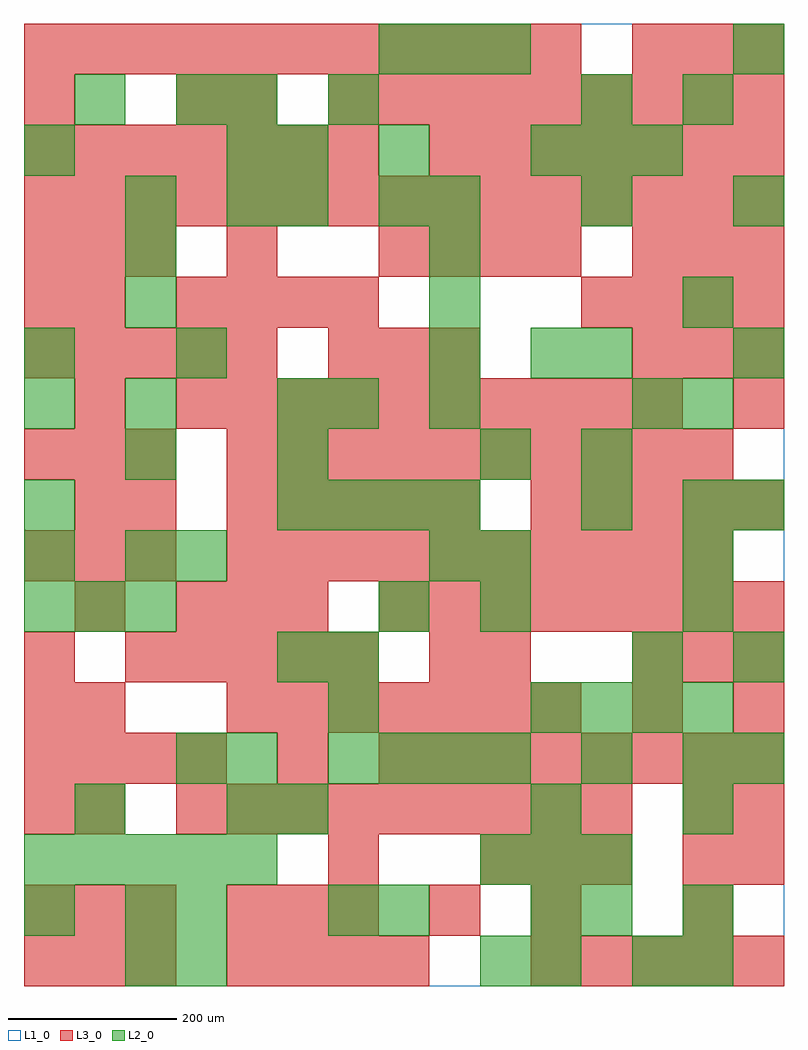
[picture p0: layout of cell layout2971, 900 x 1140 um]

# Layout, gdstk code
import gdstk
lib = gdstk.Library(unit=1e-6, precision=1e-09)
def R(c, l, rs):  # rectangles x0, y0, x1, y1
    for r in rs: c.add(gdstk.rectangle(r[:2], r[2:], *l))
def A(c, l, x, y, w, h, nx, ny, dx, dy):  # array of equal rectangles
    R(c, l, [(x+i*dx, y+j*dy, x+i*dx+w, y+j*dy+h) for i in range(nx) for j in range(ny)])
L1_0 = (1, 0)
L2_0 = (2, 0)
L3_0 = (3, 0)

layout2971 = lib.new_cell('layout2971')
R(layout2971, L1_0, [(0,0,900,1140)])
A(layout2971, L2_0, 0, 120, 60, 60, 5, 1, 60, 0)
A(layout2971, L2_0, 540, 120, 60, 60, 3, 1, 60, 0)
A(layout2971, L2_0, 180, 240, 60, 60, 1, 3, 0, 240)
A(layout2971, L2_0, 360, 240, 60, 60, 4, 1, 60, 0)
A(layout2971, L2_0, 600, 300, 60, 60, 4, 1, 60, 0)
A(layout2971, L2_0, 840, 360, 60, 60, 1, 3, 0, 180)
A(layout2971, L2_0, 0, 420, 60, 60, 3, 1, 60, 0)
A(layout2971, L2_0, 780, 420, 60, 60, 1, 3, 0, 60)
A(layout2971, L2_0, 300, 540, 60, 60, 4, 1, 60, 0)
A(layout2971, L2_0, 480, 660, 60, 60, 1, 4, 0, 60)
A(layout2971, L2_0, 120, 780, 60, 60, 1, 3, 0, 60)
A(layout2971, L2_0, 240, 900, 60, 60, 1, 3, 0, 60)
A(layout2971, L2_0, 480, 900, 60, 60, 3, 1, 180, 0)
A(layout2971, L2_0, 600, 960, 60, 60, 3, 1, 60, 0)
A(layout2971, L2_0, 420, 1080, 60, 60, 3, 1, 60, 0)
R(layout2971, L2_0, [(120,0,180,60), (180,0,240,60), (540,0,600,60), (600,0,660,60), (720,0,780,60), (780,0,840,60), (0,60,60,120), (120,60,180,120), (180,60,240,120), (360,60,420,120), (420,60,480,120), (600,60,660,120), (660,60,720,120), (780,60,840,120), (60,180,120,240), (240,180,300,240), (300,180,360,240), (600,180,660,240), (780,180,840,240), (240,240,300,300), (660,240,720,300), (780,240,840,300), (840,240,900,300), (360,300,420,360), (300,360,360,420), (360,360,420,420), (720,360,780,420), (420,420,480,480), (540,420,600,480), (0,480,60,540), (120,480,180,540), (480,480,540,540), (540,480,600,540), (0,540,60,600), (660,540,720,600), (120,600,180,660), (300,600,360,660), (540,600,600,660), (660,600,720,660), (0,660,60,720), (120,660,180,720), (300,660,360,720), (360,660,420,720), (720,660,780,720), (780,660,840,720), (0,720,60,780), (600,720,660,780), (660,720,720,780), (780,780,840,840), (300,900,360,960), (420,900,480,960), (0,960,60,1020), (300,960,360,1020), (420,960,480,1020), (60,1020,120,1080), (180,1020,240,1080), (360,1020,420,1080), (660,1020,720,1080), (780,1020,840,1080), (840,1080,900,1140)])
A(layout2971, L3_0, 0, 0, 60, 60, 3, 2, 60, 60)
A(layout2971, L3_0, 240, 0, 60, 60, 4, 1, 60, 0)
A(layout2971, L3_0, 600, 0, 60, 60, 5, 2, 60, 540)
A(layout2971, L3_0, 240, 60, 60, 60, 3, 1, 60, 0)
A(layout2971, L3_0, 780, 60, 60, 60, 1, 3, 0, 60)
A(layout2971, L3_0, 540, 120, 60, 60, 3, 1, 60, 0)
A(layout2971, L3_0, 60, 180, 60, 60, 1, 6, 0, 120)
A(layout2971, L3_0, 180, 180, 60, 60, 9, 1, 60, 0)
A(layout2971, L3_0, 0, 240, 60, 60, 4, 1, 60, 0)
A(layout2971, L3_0, 420, 240, 60, 60, 8, 2, 60, 180)
A(layout2971, L3_0, 240, 300, 60, 60, 7, 1, 60, 0)
A(layout2971, L3_0, 120, 360, 60, 60, 5, 1, 60, 0)
A(layout2971, L3_0, 720, 360, 60, 60, 3, 2, 60, 360)
A(layout2971, L3_0, 180, 420, 60, 60, 3, 1, 60, 0)
A(layout2971, L3_0, 0, 480, 60, 60, 3, 2, 60, 120)
A(layout2971, L3_0, 240, 480, 60, 60, 10, 2, 60, 120)
A(layout2971, L3_0, 240, 540, 60, 60, 5, 1, 60, 0)
A(layout2971, L3_0, 180, 660, 60, 60, 10, 1, 60, 0)
A(layout2971, L3_0, 0, 720, 60, 60, 5, 1, 60, 0)
A(layout2971, L3_0, 360, 720, 60, 60, 3, 1, 60, 0)
A(layout2971, L3_0, 180, 780, 60, 60, 4, 1, 60, 0)
A(layout2971, L3_0, 660, 780, 60, 60, 4, 1, 60, 0)
A(layout2971, L3_0, 0, 840, 60, 60, 3, 1, 60, 0)
A(layout2971, L3_0, 420, 840, 60, 60, 4, 1, 60, 0)
A(layout2971, L3_0, 720, 840, 60, 60, 3, 2, 60, 240)
A(layout2971, L3_0, 0, 900, 60, 60, 15, 1, 60, 0)
A(layout2971, L3_0, 0, 960, 60, 60, 7, 1, 60, 0)
A(layout2971, L3_0, 480, 960, 60, 60, 7, 1, 60, 0)
A(layout2971, L3_0, 360, 1020, 60, 60, 9, 1, 60, 0)
A(layout2971, L3_0, 0, 1080, 60, 60, 11, 1, 60, 0)
R(layout2971, L3_0, [(480,60,540,120), (600,60,660,120), (360,120,420,180), (840,120,900,180), (0,180,60,240), (840,180,900,240), (300,240,360,300), (0,300,60,360), (720,300,780,360), (840,300,900,360), (0,360,60,420), (480,360,540,420), (540,360,600,420), (120,540,180,600), (840,660,900,720), (0,780,60,840), (240,840,300,900), (0,1020,60,1080), (180,1020,240,1080), (240,1020,300,1080)])

lib.write_gds('layout2971.gds')
